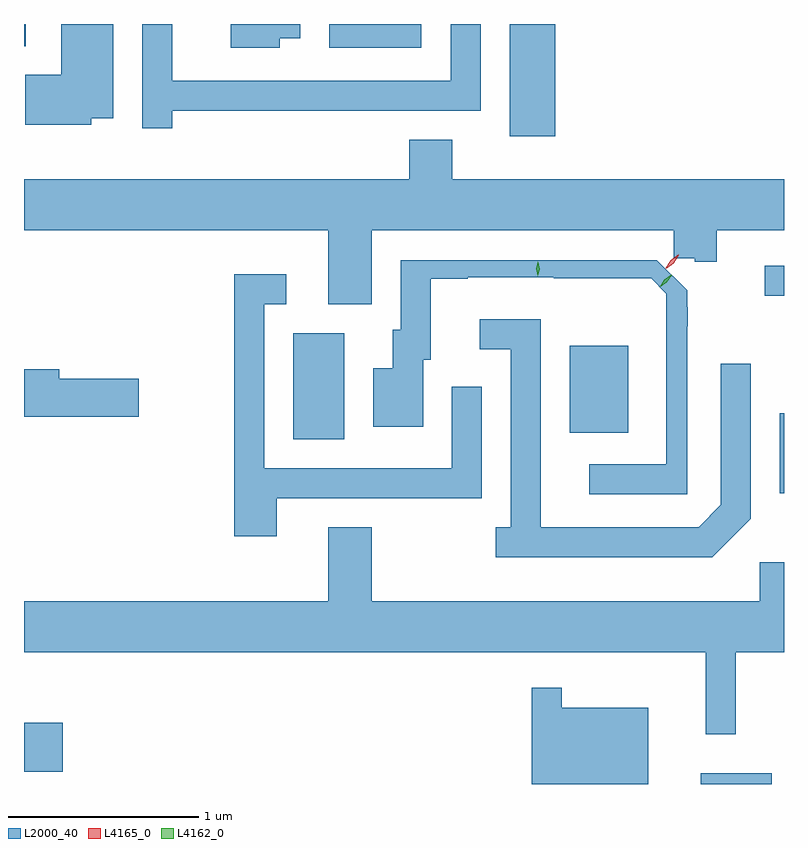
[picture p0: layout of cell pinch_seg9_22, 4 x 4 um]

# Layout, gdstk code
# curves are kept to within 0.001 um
import gdstk
lib = gdstk.Library(unit=1e-6, precision=1e-09)
def R(c, l, rs):  # rectangles x0, y0, x1, y1
    for r in rs: c.add(gdstk.rectangle(r[:2], r[2:], *l))
def P(c, l, *ps):  # polygons
    for p in ps: c.add(gdstk.Polygon(p, *l))
L2000_40 = (2000, 40)
L4162_0 = (4162, 0)
L4165_0 = (4165, 0)

pinch_seg9_22 = lib.new_cell('pinch_seg9_22')
R(pinch_seg9_22, L2000_40, [(1028.411,2011.102,1028.784,2011.159), (1024.849,2011.166,1025.054,2011.424), (1028.826,2012.631,1028.849,2013.054), (1026.266,2012.916,1026.534,2013.474), (1027.721,2012.951,1028.029,2013.409), (1028.748,2013.671,1028.849,2013.829), (1027.406,2014.511,1027.644,2015.102), (1026.456,2014.976,1026.939,2015.102), (1024.849,2014.986,1024.859,2015.102)])
P(pinch_seg9_22, L2000_40, [(1025.204,2014.606),(1025.319,2014.606),(1025.319,2015.102),(1025.046,2015.102),(1025.046,2014.834),(1024.856,2014.834),(1024.856,2014.571),(1025.204,2014.571)],
  [(1025.629,2014.646),(1027.254,2014.646),(1027.254,2015.102),(1027.096,2015.102),(1027.096,2014.804),(1025.629,2014.804),(1025.629,2015.102),(1025.471,2015.102),(1025.471,2014.553),(1025.629,2014.553)],
  [(1026.194,2015.026),(1026.304,2015.026),(1026.304,2015.102),(1025.936,2015.102),(1025.936,2014.976),(1026.194,2014.976)],
  [(1026.679,2014.016),(1028.27,2014.016),(1028.27,2013.868),(1028.38,2013.868),(1028.38,2013.851),(1028.494,2013.851),(1028.494,2014.016),(1028.849,2014.016),(1028.849,2014.284),(1027.104,2014.284),(1027.104,2014.494),(1026.876,2014.494),(1026.876,2014.284),(1024.849,2014.284),(1024.849,2014.016),(1026.451,2014.016),(1026.451,2013.626),(1026.679,2013.626)],
  [(1028.339,2013.512),(1028.342,2013.512),(1028.342,2013.612),(1028.339,2013.612),(1028.339,2013.7),(1028.18,2013.859),(1026.831,2013.859),(1026.831,2013.494),(1026.791,2013.494),(1026.791,2013.289),(1026.686,2013.289),(1026.686,2012.981),(1026.949,2012.981),(1026.949,2013.336),(1026.989,2013.336),(1026.989,2013.76),(1027.185,2013.76),(1027.185,2013.769),(1027.636,2013.769),(1027.636,2013.763),(1028.149,2013.763),(1028.229,2013.682),(1028.228,2012.784),(1027.823,2012.784),(1027.823,2012.626),(1028.339,2012.626)],
  [(1026.179,2012.606),(1027.259,2012.606),(1027.259,2013.193),(1027.101,2013.193),(1027.101,2012.764),(1026.114,2012.764),(1026.114,2013.626),(1026.228,2013.626),(1026.228,2013.784),(1025.956,2013.784),(1025.956,2012.406),(1026.179,2012.406)],
  [(1028.674,2012.499),(1028.674,2013.313),(1028.516,2013.313),(1028.516,2012.572),(1028.399,2012.454),(1027.569,2012.454),(1027.569,2013.549),(1027.248,2013.549),(1027.248,2013.391),(1027.411,2013.391),(1027.411,2012.454),(1027.333,2012.454),(1027.333,2012.296),(1028.472,2012.296)],
  [(1025.454,2013.234),(1025.034,2013.234),(1025.034,2013.284),(1024.849,2013.284),(1024.849,2013.036),(1025.454,2013.036)],
  [(1028.594,2011.796),(1028.849,2011.796),(1028.849,2012.269),(1028.721,2012.269),(1028.721,2012.064),(1026.679,2012.064),(1026.679,2012.454),(1026.451,2012.454),(1026.451,2012.064),(1024.849,2012.064),(1024.849,2011.796),(1028.436,2011.796),(1028.436,2011.363),(1028.594,2011.363)],
  [(1028.134,2011.504),(1027.679,2011.504),(1027.679,2011.608),(1027.521,2011.608),(1027.521,2011.102),(1028.134,2011.102)])
P(pinch_seg9_22, L4162_0, [(1028.196,2013.717),(1028.196,2013.717),(1028.219,2013.756),(1028.256,2013.781),(1028.257,2013.781),(1028.257,2013.78),(1028.233,2013.742),(1028.196,2013.717)],
  [(1027.554,2013.775),(1027.553,2013.776),(1027.544,2013.813),(1027.554,2013.849),(1027.554,2013.85),(1027.555,2013.849),(1027.564,2013.812),(1027.554,2013.776)])
P(pinch_seg9_22, L4165_0, [(1028.225,2013.813),(1028.225,2013.814),(1028.253,2013.858),(1028.295,2013.89),(1028.296,2013.89),(1028.296,2013.889),(1028.268,2013.845),(1028.225,2013.813)],
  [(1028.23,2013.814),(1028.23,2013.814),(1028.256,2013.856),(1028.295,2013.885),(1028.296,2013.885),(1028.296,2013.884),(1028.27,2013.843),(1028.23,2013.814)])

lib.write_gds('pinch_seg9_22.gds')
